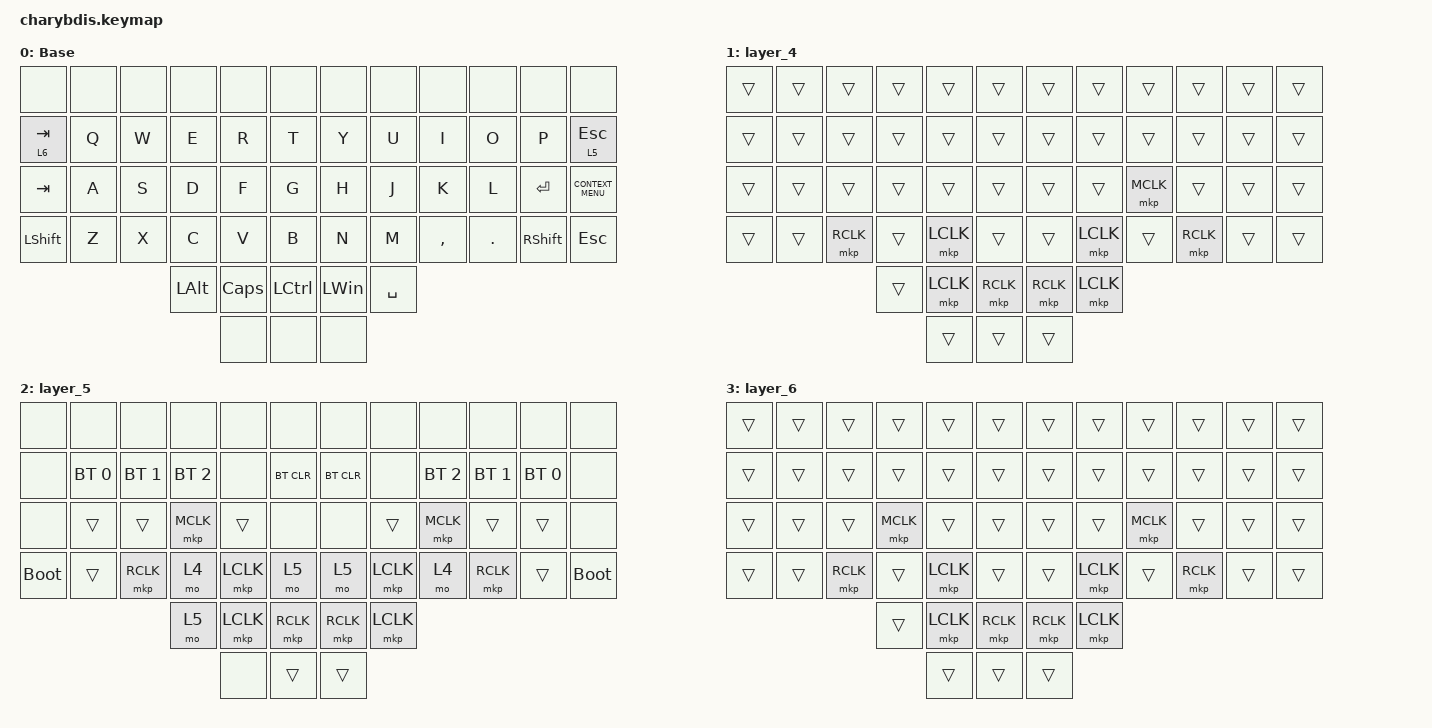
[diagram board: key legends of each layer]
#include <behaviors.dtsi>
#include <dt-bindings/zmk/bt.h>
#include <dt-bindings/zmk/keys.h>
#include <dt-bindings/zmk/mouse.h>


&lt {
    tapping-term-ms = <200>;
    flavor = "balanced";
    quick-tap-ms = <150>;
};

/ {
    combos {
        compatible = "zmk,combos";

        escc {
            bindings = <&kp ESC>;
            key-positions = <17 18>;
            layers = <0>;
        };
    };

    keymap {
        compatible = "zmk,keymap";

        Base {
            bindings = <
&none           &none    &none   &none           &none         &none             &none           &none            &none      &none    &none        &none
&lt 6 TAB       &kp Q    &kp W   &kp E           &kp R         &kp T             &kp Y           &kp U            &kp I      &kp O    &kp P        &lt 5 ESC
&kp TAB         &kp A    &kp S   &kp D           &kp F         &kp G             &kp H           &kp J            &kp K      &kp L    &kp ENTER    &kp K_CONTEXT_MENU
&kp LSHIFT      &kp Z    &kp X   &kp C           &kp V         &kp B             &kp N           &kp M            &kp COMMA  &kp DOT  &kp RSHIFT   &kp ESC
                                 &kp LEFT_ALT    &kp CAPS      &kp LCTRL         &kp LEFT_WIN    &kp SPACE
                                                 &none         &none             &none
            >;

            trackball-bindings = <&tmv_coarse>;
        };

        layer_4 {
            bindings = <
&trans  &trans  &trans     &trans     &trans     &trans       &trans     &trans     &trans     &trans     &trans  &trans
&trans  &trans  &trans     &trans     &trans     &trans       &trans     &trans     &trans     &trans     &trans  &trans
&trans  &trans  &trans     &trans     &trans     &trans       &trans     &trans     &mkp MCLK  &trans     &trans  &trans
&trans  &trans  &mkp RCLK  &trans     &mkp LCLK  &trans       &trans     &mkp LCLK  &trans     &mkp RCLK  &trans  &trans
                           &trans     &mkp LCLK  &mkp RCLK    &mkp RCLK  &mkp LCLK
                                      &trans     &trans       &trans
            >;

            trackball-bindings = <&tsl>;//滚轮层
        };

        layer_5 {
            bindings = <
&none        &none         &none         &none         &none      &none         &none       &none      &none         &none         &none         &none
&none        &bt BT_SEL 0  &bt BT_SEL 1  &bt BT_SEL 2  &none      &bt BT_CLR    &bt BT_CLR  &none      &bt BT_SEL 2  &bt BT_SEL 1  &bt BT_SEL 0  &none
&none        &trans        &trans        &mkp MCLK     &trans     &none         &none       &trans     &mkp MCLK     &trans        &trans        &none
&bootloader  &trans        &mkp RCLK     &mo 4         &mkp LCLK  &mo 5         &mo 5       &mkp LCLK  &mo 4         &mkp RCLK     &trans        &bootloader
                                         &mo 5         &mkp LCLK  &mkp RCLK     &mkp RCLK   &mkp LCLK
                                                       &none      &trans        &trans
            >;
        };

        layer_6 {
            bindings = <
&trans  &trans  &trans     &trans     &trans     &trans       &trans     &trans     &trans     &trans     &trans  &trans
&trans  &trans  &trans     &trans     &trans     &trans       &trans     &trans     &trans     &trans     &trans  &trans
&trans  &trans  &trans     &mkp MCLK  &trans     &trans       &trans     &trans     &mkp MCLK  &trans     &trans  &trans
&trans  &trans  &mkp RCLK  &trans     &mkp LCLK  &trans       &trans     &mkp LCLK  &trans     &mkp RCLK  &trans  &trans
                           &trans     &mkp LCLK  &mkp RCLK    &mkp RCLK  &mkp LCLK
                                      &trans     &trans       &trans
            >;

            trackball-bindings = <&tmv_fine>;//精准指针层
        };

    };
};
